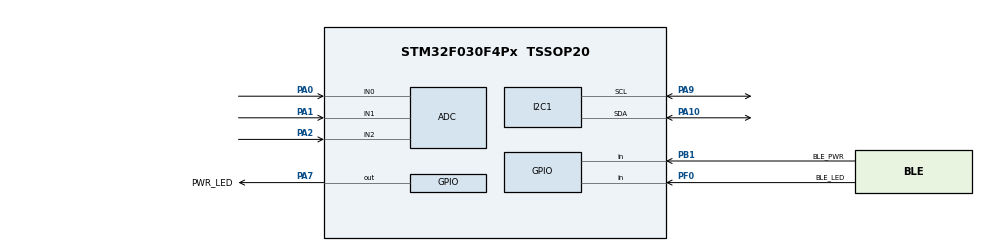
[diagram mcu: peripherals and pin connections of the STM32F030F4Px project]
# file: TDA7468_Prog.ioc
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Mcu.Family=STM32F0
PA10.Mode=I2C
Dma.ADC.0.Mode=DMA_CIRCULAR
Dma.ADC.0.Priority=DMA_PRIORITY_LOW
ADC.ClockPrescaler=ADC_CLOCK_SYNC_PCLK_DIV2
ProjectManager.StackSize=0x400
Dma.ADC.0.PeriphDataAlignment=DMA_PDATAALIGN_HALFWORD
PA13.Signal=SYS_SWDIO
PA9.Mode=I2C
ProjectManager.TargetToolchain=STM32CubeIDE
Dma.ADC.0.PeriphInc=DMA_PINC_DISABLE
PA9.Signal=I2C1_SCL
PA1.Signal=ADC_IN1
Dma.ADC.0.Direction=DMA_PERIPH_TO_MEMORY
ADC.SamplingTime=ADC_SAMPLETIME_71CYCLES_5
ADC.DMAContinuousRequests=ENABLE
PF0-OSC_IN.GPIO_Label=BLE_LED
board=custom
PA1.Mode=IN1
PA14.Mode=Serial_Wire
PB1.GPIO_Label=BLE_PWR
PA0.Mode=IN0
ADC.EOCSelection=ADC_EOC_SINGLE_CONV
PA13.Mode=Serial_Wire
Mcu.Name=STM32F030F4Px
PA2.Signal=ADC_IN2
PA0.Signal=ADC_IN0
ADC.Overrun=ADC_OVR_DATA_PRESERVED
Dma.ADC.0.MemInc=DMA_MINC_ENABLE
Mcu.Package=TSSOP20
PB1.Signal=GPIO_Input
PA7.GPIO_Label=PWR_LED
Dma.ADC.0.Instance=DMA1_Channel1
PA10.Signal=I2C1_SDA
PA14.Signal=SYS_SWCLK
ProjectManager.HeapSize=0x200
Dma.ADC.0.MemDataAlignment=DMA_MDATAALIGN_HALFWORD
PA2.Mode=IN2
NVIC.DMA1_Channel1_IRQn=true\:0\:0\:false\:false\:true\:false\:true
PF0-OSC_IN.Signal=GPIO_Input
Dma.Request0=ADC
ADC.ContinuousConvMode=ENABLE
PA7.Signal=GPIO_Output

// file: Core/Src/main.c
/* USER CODE BEGIN Header */
/**
  ******************************************************************************
  * @file           : main.c
  * @brief          : Main program body
  ******************************************************************************
  * @attention
  *
  * <h2><center>&copy; Copyright (c) 2021 STMicroelectronics.
  * All rights reserved.</center></h2>
  *
  * This software component is licensed by ST under BSD 3-Clause license,
  * the "License"; You may not use this file except in compliance with the
  * License. You may obtain a copy of the License at:
  *                        opensource.org/licenses/BSD-3-Clause
  *
  ******************************************************************************
  */
/* USER CODE END Header */
#include "main.h"

/* USER CODE BEGIN Includes */
#include "TDA7468.h"
/* USER CODE END Includes */

/* USER CODE BEGIN PTD */
uint16_t pData[3];
uint8_t Cnt,Cnt1;
/* USER CODE END PTD */

ADC_HandleTypeDef hadc;
DMA_HandleTypeDef hdma_adc;

I2C_HandleTypeDef hi2c1;

void SystemClock_Config(void);
static void MX_GPIO_Init(void);
static void MX_DMA_Init(void);
static void MX_ADC_Init(void);
static void MX_I2C1_Init(void);

/* USER CODE BEGIN 0 */
unsigned char reverse(unsigned char b) {
   b = (b & 0xF0) >> 4 | (b & 0x0F) << 4;
   b = (b & 0xCC) >> 2 | (b & 0x33) << 2;
   b = (b & 0xAA) >> 1 | (b & 0x55) << 1;
   return b;
}
/* USER CODE END 0 */

int main(void)
{

  /* MCU Configuration--------------------------------------------------------*/

  /* Reset of all peripherals, Initializes the Flash interface and the Systick. */
  HAL_Init();

  /* Configure the system clock */
  SystemClock_Config();

  /* Initialize all configured peripherals */
  MX_GPIO_Init();
  MX_DMA_Init();
  MX_ADC_Init();
  MX_I2C1_Init();
  /* USER CODE BEGIN 2 */
  TDA7468_Init(hi2c1);
  TDA7468_Set_Input(0);
  HAL_ADC_Start_DMA(&hadc,pData,3);
  HAL_GPIO_WritePin(PWR_LED_GPIO_Port, PWR_LED_Pin, GPIO_PIN_SET);
  /* USER CODE END 2 */

  /* Infinite loop */
  /* USER CODE BEGIN WHILE */
  while (1)
  {
 	  if (HAL_GPIO_ReadPin(BLE_PWR_GPIO_Port, BLE_PWR_Pin))
		{
		  TDA7468_Set_Input(IN2);
		  if (HAL_GPIO_ReadPin(BLE_LED_GPIO_Port, BLE_LED_Pin))
		  {
			  HAL_GPIO_WritePin(PWR_LED_GPIO_Port, PWR_LED_Pin, GPIO_PIN_RESET);
		  }else
		  {
			  HAL_GPIO_WritePin(PWR_LED_GPIO_Port, PWR_LED_Pin, GPIO_PIN_SET);
		  }
		}
	  else {
		  TDA7468_Set_Input(IN1);
		  HAL_GPIO_WritePin(PWR_LED_GPIO_Port, PWR_LED_Pin, GPIO_PIN_SET);
	  }
	  Cnt = pData[0]*0.015380859375;
	// Cnt= reverse(Cnt);
	  TDA7468_Master_Volume(Cnt);
	  Cnt = (4096-pData[2])*0.003662109375;
	  Cnt1 = (4096-pData[1])*0.003662109375;
	  TDA7468_Bass_Treble(Cnt1,Cnt);
    /* USER CODE END WHILE */

  }
}

void SystemClock_Config(void)
{
  RCC_OscInitTypeDef RCC_OscInitStruct = {0};
  RCC_ClkInitTypeDef RCC_ClkInitStruct = {0};
  RCC_PeriphCLKInitTypeDef PeriphClkInit = {0};

  /** Initializes the RCC Oscillators according to the specified parameters
  * in the RCC_OscInitTypeDef structure.
  */
  RCC_OscInitStruct.OscillatorType = RCC_OSCILLATORTYPE_HSI;
  RCC_OscInitStruct.HSIState = RCC_HSI_ON;
  RCC_OscInitStruct.HSICalibrationValue = RCC_HSICALIBRATION_DEFAULT;
  RCC_OscInitStruct.PLL.PLLState = RCC_PLL_NONE;
  if (HAL_RCC_OscConfig(&RCC_OscInitStruct) != HAL_OK)
  {
    Error_Handler();
  }
  /** Initializes the CPU, AHB and APB buses clocks
  */
  RCC_ClkInitStruct.ClockType = RCC_CLOCKTYPE_HCLK|RCC_CLOCKTYPE_SYSCLK
                              |RCC_CLOCKTYPE_PCLK1;
  RCC_ClkInitStruct.SYSCLKSource = RCC_SYSCLKSOURCE_HSI;
  RCC_ClkInitStruct.AHBCLKDivider = RCC_SYSCLK_DIV1;
  RCC_ClkInitStruct.APB1CLKDivider = RCC_HCLK_DIV1;

  if (HAL_RCC_ClockConfig(&RCC_ClkInitStruct, FLASH_LATENCY_0) != HAL_OK)
  {
    Error_Handler();
  }
  PeriphClkInit.PeriphClockSelection = RCC_PERIPHCLK_I2C1;
  PeriphClkInit.I2c1ClockSelection = RCC_I2C1CLKSOURCE_HSI;
  if (HAL_RCCEx_PeriphCLKConfig(&PeriphClkInit) != HAL_OK)
  {
    Error_Handler();
  }
}

static void MX_ADC_Init(void)
{

  ADC_ChannelConfTypeDef sConfig = {0};

  /** Configure the global features of the ADC (Clock, Resolution, Data Alignment and number of conversion)
  */
  hadc.Instance = ADC1;
  hadc.Init.ClockPrescaler = ADC_CLOCK_SYNC_PCLK_DIV2;
  hadc.Init.Resolution = ADC_RESOLUTION_12B;
  hadc.Init.DataAlign = ADC_DATAALIGN_RIGHT;
  hadc.Init.ScanConvMode = ADC_SCAN_DIRECTION_FORWARD;
  hadc.Init.EOCSelection = ADC_EOC_SINGLE_CONV;
  hadc.Init.LowPowerAutoWait = DISABLE;
  hadc.Init.LowPowerAutoPowerOff = DISABLE;
  hadc.Init.ContinuousConvMode = ENABLE;
  hadc.Init.DiscontinuousConvMode = DISABLE;
  hadc.Init.ExternalTrigConv = ADC_SOFTWARE_START;
  hadc.Init.ExternalTrigConvEdge = ADC_EXTERNALTRIGCONVEDGE_NONE;
  hadc.Init.DMAContinuousRequests = ENABLE;
  hadc.Init.Overrun = ADC_OVR_DATA_PRESERVED;
  if (HAL_ADC_Init(&hadc) != HAL_OK)
  {
    Error_Handler();
  }
  /** Configure for the selected ADC regular channel to be converted.
  */
  sConfig.Channel = ADC_CHANNEL_0;
  sConfig.Rank = ADC_RANK_CHANNEL_NUMBER;
  sConfig.SamplingTime = ADC_SAMPLETIME_71CYCLES_5;
  if (HAL_ADC_ConfigChannel(&hadc, &sConfig) != HAL_OK)
  {
    Error_Handler();
  }
  /** Configure for the selected ADC regular channel to be converted.
  */
  sConfig.Channel = ADC_CHANNEL_1;
  if (HAL_ADC_ConfigChannel(&hadc, &sConfig) != HAL_OK)
  {
    Error_Handler();
  }
  /** Configure for the selected ADC regular channel to be converted.
  */
  sConfig.Channel = ADC_CHANNEL_2;
  if (HAL_ADC_ConfigChannel(&hadc, &sConfig) != HAL_OK)
  {
    Error_Handler();
  }

}

static void MX_I2C1_Init(void)
{

  hi2c1.Instance = I2C1;
  hi2c1.Init.Timing = 0x2000090E;
  hi2c1.Init.OwnAddress1 = 0;
  hi2c1.Init.AddressingMode = I2C_ADDRESSINGMODE_7BIT;
  hi2c1.Init.DualAddressMode = I2C_DUALADDRESS_DISABLE;
  hi2c1.Init.OwnAddress2 = 0;
  hi2c1.Init.OwnAddress2Masks = I2C_OA2_NOMASK;
  hi2c1.Init.GeneralCallMode = I2C_GENERALCALL_DISABLE;
  hi2c1.Init.NoStretchMode = I2C_NOSTRETCH_DISABLE;
  if (HAL_I2C_Init(&hi2c1) != HAL_OK)
  {
    Error_Handler();
  }
  /** Configure Analogue filter
  */
  if (HAL_I2CEx_ConfigAnalogFilter(&hi2c1, I2C_ANALOGFILTER_ENABLE) != HAL_OK)
  {
    Error_Handler();
  }
  /** Configure Digital filter
  */
  if (HAL_I2CEx_ConfigDigitalFilter(&hi2c1, 0) != HAL_OK)
  {
    Error_Handler();
  }

}

static void MX_DMA_Init(void)
{

  /* DMA controller clock enable */
  __HAL_RCC_DMA1_CLK_ENABLE();

  /* DMA interrupt init */
  /* DMA1_Channel1_IRQn interrupt configuration */
  HAL_NVIC_SetPriority(DMA1_Channel1_IRQn, 0, 0);
  HAL_NVIC_EnableIRQ(DMA1_Channel1_IRQn);

}

static void MX_GPIO_Init(void)
{
  GPIO_InitTypeDef GPIO_InitStruct = {0};

  /* GPIO Ports Clock Enable */
  __HAL_RCC_GPIOF_CLK_ENABLE();
  __HAL_RCC_GPIOA_CLK_ENABLE();
  __HAL_RCC_GPIOB_CLK_ENABLE();

  /*Configure GPIO pin Output Level */
  HAL_GPIO_WritePin(PWR_LED_GPIO_Port, PWR_LED_Pin, GPIO_PIN_RESET);

  /*Configure GPIO pin : BLE_LED_Pin */
  GPIO_InitStruct.Pin = BLE_LED_Pin;
  GPIO_InitStruct.Mode = GPIO_MODE_INPUT;
  GPIO_InitStruct.Pull = GPIO_NOPULL;
  HAL_GPIO_Init(BLE_LED_GPIO_Port, &GPIO_InitStruct);

  /*Configure GPIO pin : PWR_LED_Pin */
  GPIO_InitStruct.Pin = PWR_LED_Pin;
  GPIO_InitStruct.Mode = GPIO_MODE_OUTPUT_PP;
  GPIO_InitStruct.Pull = GPIO_NOPULL;
  GPIO_InitStruct.Speed = GPIO_SPEED_FREQ_LOW;
  HAL_GPIO_Init(PWR_LED_GPIO_Port, &GPIO_InitStruct);

  /*Configure GPIO pin : BLE_PWR_Pin */
  GPIO_InitStruct.Pin = BLE_PWR_Pin;
  GPIO_InitStruct.Mode = GPIO_MODE_INPUT;
  GPIO_InitStruct.Pull = GPIO_NOPULL;
  HAL_GPIO_Init(BLE_PWR_GPIO_Port, &GPIO_InitStruct);

}

void Error_Handler(void)
{
  __disable_irq();
  while (1)
  {
  }
}

/************************ (C) COPYRIGHT STMicroelectronics *****END OF FILE****/
